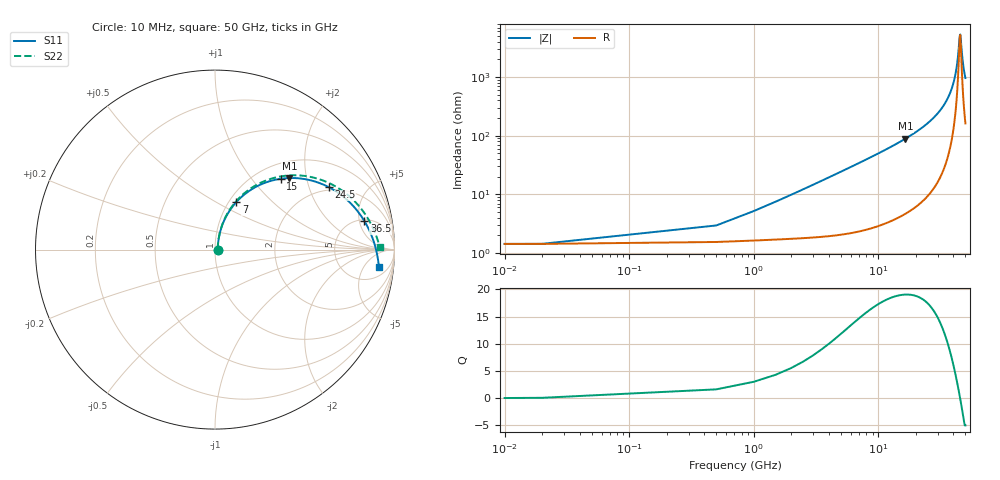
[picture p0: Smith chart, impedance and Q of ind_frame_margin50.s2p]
! Created with skrf 2.2.0 (http://scikit-rf.org).
# GHz S DB R 50.0
! Port[1] = P1
! Port[2] = P2
!freq dBS11 angS11 dBS21 angS21 dBS12 angS12 dBS22 angS22
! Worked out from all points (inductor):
!   102 points, 10 MHz to 50 GHz, reference 50 ohm
!   read as 1/Y11, port 2 shorted: L = 779 pH near 1 GHz
!   highest Q = 19 at 16.5 GHz (marker M1), where L = 861 pH
!   self-resonance near 45 GHz
!   S11 on the Smith chart (normalised r, x): 10 MHz: 1.03, +0.00; 7 GHz: 1.08, +0.62; 15 GHz: 1.27, +1.42; 24.5 GHz: 1.87, +2.72; 36.5 GHz: 5.32, +5.97; 50 GHz: 9, -11
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0.01  -36.98 2.0  -0.12 -0.0  -0.12 -0.0  -36.98 2.0
0.5  -31.37 54.4  -0.14 -1.6  -0.14 -1.6  -31.36 54.4
1  -26.65 67.3  -0.15 -3.1  -0.15 -3.1  -26.64 67.3
1.5  -23.48 71.7  -0.17 -4.5  -0.17 -4.5  -23.48 71.8
2  -21.13 73.4  -0.19 -6.0  -0.19 -6.0  -21.14 73.6
3  -17.75 73.8  -0.24 -8.9  -0.24 -8.9  -17.76 74.1
4  -15.35 72.5  -0.31 -11.7  -0.31 -11.7  -15.35 72.9
5.5  -12.72 69.5  -0.43 -15.9  -0.43 -15.9  -12.73 70.1
7  -10.79 65.9  -0.59 -20.0  -0.59 -20.0  -10.80 66.7
8.5  -9.29 62.3  -0.77 -24.0  -0.77 -24.0  -9.30 63.3
11.5  -7.10 55.0  -1.21 -31.5  -1.21 -31.5  -7.11 56.4
15  -5.37 47.1  -1.80 -39.5  -1.80 -39.5  -5.38 48.9
16.5  -4.81 43.9  -2.08 -42.7  -2.08 -42.7  -4.82 45.9
17  -4.64 42.9  -2.17 -43.7  -2.17 -43.7  -4.65 44.9
20.5  -3.64 36.0  -2.84 -50.5  -2.84 -50.5  -3.65 38.4
24.5  -2.82 28.8  -3.65 -57.6  -3.65 -57.6  -2.83 31.8
25.5  -2.65 27.1  -3.85 -59.2  -3.85 -59.2  -2.67 30.3
29.5  -2.10 20.8  -4.68 -65.5  -4.68 -65.5  -2.11 24.4
33.5  -1.68 14.9  -5.51 -71.1  -5.51 -71.1  -1.69 19.1
36.5  -1.44 10.7  -6.14 -75.1  -6.14 -75.1  -1.44 15.4
42  -1.09 3.6  -7.31 -81.9  -7.31 -81.9  -1.09 9.1
50  -0.74 -6.1  -9.07 -91.0  -9.07 -91.0  -0.75 0.8
